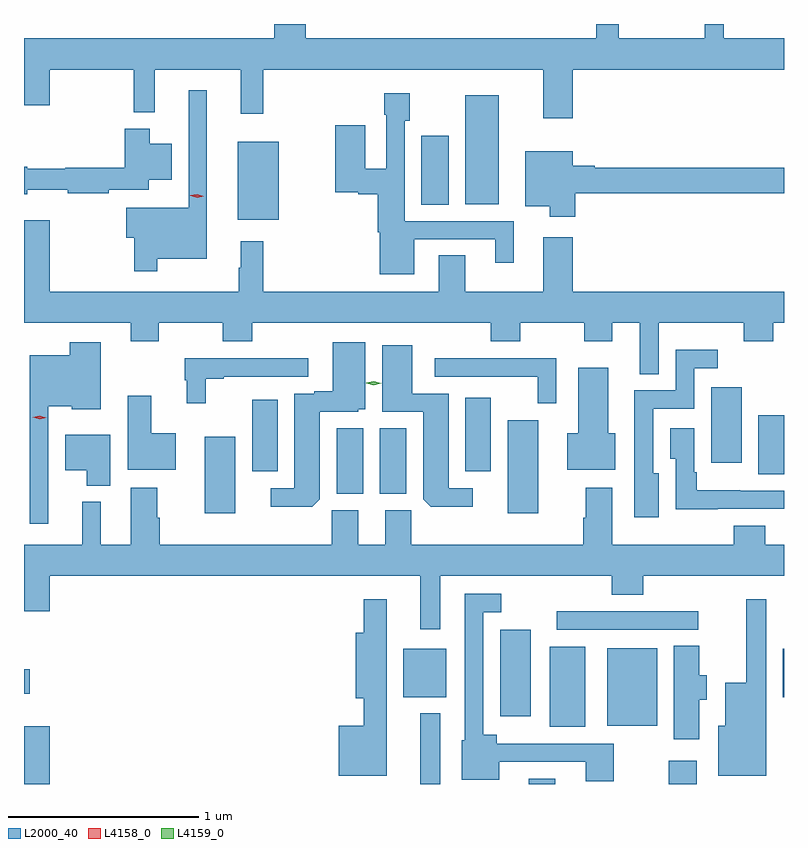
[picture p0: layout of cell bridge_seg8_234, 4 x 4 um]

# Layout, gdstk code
import gdstk
lib = gdstk.Library(unit=1e-6, precision=1e-09)
def R(c, l, rs):  # rectangles x0, y0, x1, y1
    for r in rs: c.add(gdstk.rectangle(r[:2], r[2:], *l))
def P(c, l, *ps):  # polygons
    for p in ps: c.add(gdstk.Polygon(p, *l))
L2000_40 = (2000, 40)
L4158_0 = (4158, 0)
L4159_0 = (4159, 0)

bridge_seg8_234 = lib.new_cell('bridge_seg8_234')
R(bridge_seg8_234, L2000_40, [(260.941,1138.048,261.076,1138.351), (263.027,1138.048,263.131,1138.42), (263.597,1138.048,263.737,1138.075), (264.334,1138.048,264.481,1138.171), (263.708,1138.349,263.896,1138.771), (264.011,1138.355,264.274,1138.762), (263.447,1138.404,263.608,1138.861), (262.937,1138.505,263.164,1138.759), (264.935,1138.505,264.941,1138.759), (260.941,1138.523,260.971,1138.653), (263.745,1138.86,264.49,1138.956), (261.893,1139.472,262.054,1139.875), (263.486,1139.472,263.647,1139.962), (262.586,1139.575,262.726,1139.921), (262.814,1139.575,262.954,1139.921), (264.806,1139.677,264.941,1139.988), (262.142,1139.694,262.276,1140.07), (263.264,1139.694,263.398,1140.082), (264.557,1139.739,264.718,1140.136), (262.067,1141.019,262.282,1141.429), (263.033,1141.096,263.176,1141.459), (263.264,1141.1,263.44,1141.672)])
P(bridge_seg8_234, L2000_40, [(262.424,1142.048),(262.259,1142.048),(262.259,1141.972),(260.941,1141.972),(260.941,1141.62),(261.076,1141.62),(261.076,1141.808),(261.519,1141.808),(261.519,1141.583),(261.629,1141.583),(261.629,1141.808),(262.082,1141.808),(262.082,1141.575),(262.199,1141.575),(262.199,1141.808),(263.675,1141.808),(263.675,1141.551),(263.828,1141.551),(263.828,1141.808),(264.941,1141.808),(264.941,1141.972),(264.623,1141.972),(264.623,1142.048),(264.524,1142.048),(264.524,1141.972),(264.071,1141.972),(264.071,1142.048),(263.953,1142.048),(263.953,1141.972),(262.424,1141.972)],
  [(261.643,1140.812),(261.904,1140.812),(261.904,1141.699),(261.807,1141.699),(261.807,1141.081),(261.48,1141.081),(261.48,1140.923),(261.522,1140.923),(261.522,1140.747),(261.643,1140.747)],
  [(262.996,1140.915),(263.42,1140.915),(263.42,1140.792),(263.518,1140.792),(263.518,1141.011),(262.944,1141.011),(262.944,1141.539),(262.971,1141.539),(262.971,1141.684),(262.836,1141.684),(262.836,1141.571),(262.848,1141.571),(262.848,1141.286),(262.738,1141.286),(262.738,1141.516),(262.58,1141.516),(262.58,1141.163),(262.701,1141.163),(262.701,1141.151),(262.802,1141.151),(262.802,1140.951),(262.814,1140.951),(262.814,1140.731),(262.996,1140.731)],
  [(260.958,1141.175),(261.172,1141.175),(261.172,1141.156),(261.386,1141.156),(261.386,1141.176),(261.598,1141.176),(261.598,1141.229),(261.718,1141.229),(261.718,1141.417),(261.604,1141.417),(261.604,1141.498),(261.47,1141.498),(261.47,1141.292),(261.158,1141.292),(261.158,1141.285),(260.958,1141.285),(260.958,1141.298),(260.941,1141.298),(260.941,1141.151),(260.958,1141.151)],
  [(263.843,1141.156),(264.941,1141.156),(264.941,1141.292),(263.944,1141.292),(263.944,1141.303),(263.83,1141.303),(263.83,1141.378),(263.579,1141.378),(263.579,1141.088),(263.708,1141.088),(263.708,1141.034),(263.843,1141.034)],
  [(264.283,1140.476),(264.73,1140.476),(264.73,1140.377),(264.885,1140.377),(264.885,1140.476),(264.941,1140.476),(264.941,1140.64),(263.828,1140.64),(263.828,1140.925),(263.675,1140.925),(263.675,1140.64),(263.263,1140.64),(263.263,1140.83),(263.123,1140.83),(263.123,1140.64),(262.199,1140.64),(262.199,1140.904),(262.082,1140.904),(262.082,1140.764),(262.071,1140.764),(262.071,1140.64),(261.076,1140.64),(261.076,1141.015),(260.941,1141.015),(260.941,1140.476),(261.503,1140.476),(261.503,1140.377),(261.651,1140.377),(261.651,1140.476),(261.988,1140.476),(261.988,1140.377),(262.143,1140.377),(262.143,1140.476),(263.398,1140.476),(263.398,1140.377),(263.553,1140.377),(263.553,1140.476),(263.89,1140.476),(263.89,1140.377),(264.037,1140.377),(264.037,1140.476),(264.182,1140.476),(264.182,1140.205),(264.283,1140.205)],
  [(262.498,1139.548),(262.498,1140.006),(262.701,1140.006),(262.701,1140.02),(262.738,1140.02),(262.738,1140.373),(262.565,1140.373),(262.565,1140.115),(262.469,1140.115),(262.469,1140.102),(262.364,1140.102),(262.364,1139.604),(262.239,1139.604),(262.239,1139.507),(262.457,1139.507)],
  [(261.069,1140.035),(261.192,1140.035),(261.192,1140.02),(261.346,1140.02),(261.346,1140.373),(261.181,1140.373),(261.181,1140.304),(260.972,1140.304),(260.972,1139.418),(261.069,1139.418)],
  [(263.302,1139.604),(263.176,1139.604),(263.176,1140.102),(262.984,1140.102),(262.984,1140.358),(262.826,1140.358),(262.826,1140.006),(263.042,1140.006),(263.042,1139.548),(263.083,1139.507),(263.302,1139.507)],
  [(264.283,1139.683),(264.253,1139.683),(264.253,1140.024),(264.468,1140.024),(264.468,1140.237),(264.592,1140.237),(264.592,1140.334),(264.372,1140.334),(264.372,1140.12),(264.152,1140.12),(264.152,1139.451),(264.283,1139.451)],
  [(261.897,1140.18),(261.991,1140.18),(261.991,1140.192),(262.438,1140.192),(262.438,1140.288),(261.786,1140.288),(261.786,1140.174),(261.797,1140.174),(261.797,1140.051),(261.897,1140.051)],
  [(263.742,1140.288),(263.103,1140.288),(263.103,1140.192),(263.644,1140.192),(263.644,1140.051),(263.742,1140.051)],
  [(264.052,1139.893),(264.016,1139.893),(264.016,1140.238),(263.858,1140.238),(263.858,1139.893),(263.801,1139.893),(263.801,1139.702),(264.052,1139.702)],
  [(261.739,1139.893),(261.61,1139.893),(261.61,1140.091),(261.488,1140.091),(261.488,1139.702),(261.739,1139.702)],
  [(264.593,1139.496),(264.941,1139.496),(264.941,1139.592),(264.71,1139.592),(264.71,1139.593),(264.481,1139.593),(264.481,1139.689),(264.468,1139.689),(264.468,1139.92),(264.341,1139.92),(264.341,1139.761),(264.372,1139.761),(264.372,1139.495),(264.593,1139.495)],
  [(261.394,1139.887),(261.158,1139.887),(261.158,1139.699),(261.272,1139.699),(261.272,1139.618),(261.394,1139.618)],
  [(263.131,1139.144),(264.035,1139.144),(264.035,1139.045),(264.2,1139.045),(264.2,1139.144),(264.941,1139.144),(264.941,1139.308),(264.842,1139.308),(264.842,1139.407),(264.677,1139.407),(264.677,1139.308),(264.037,1139.308),(264.037,1139.608),(263.897,1139.608),(263.897,1139.45),(263.885,1139.45),(263.885,1139.308),(262.979,1139.308),(262.979,1139.49),(262.841,1139.49),(262.841,1139.308),(262.699,1139.308),(262.699,1139.49),(262.561,1139.49),(262.561,1139.308),(261.656,1139.308),(261.656,1139.45),(261.643,1139.45),(261.643,1139.608),(261.503,1139.608),(261.503,1139.308),(261.346,1139.308),(261.346,1139.533),(261.248,1139.533),(261.248,1139.308),(260.941,1139.308),(260.941,1138.956),(261.076,1138.956),(261.076,1139.144),(263.027,1139.144),(263.027,1138.863),(263.131,1138.863)],
  [(264.045,1138.26),(263.428,1138.26),(263.428,1138.306),(263.358,1138.306),(263.358,1138.952),(263.452,1138.952),(263.452,1139.049),(263.262,1139.049),(263.262,1138.278),(263.246,1138.278),(263.246,1138.07),(263.443,1138.07),(263.443,1138.164),(263.897,1138.164),(263.897,1138.062),(264.045,1138.062)],
  [(264.847,1139.02),(264.743,1139.02),(264.743,1138.582),(264.632,1138.582),(264.632,1138.354),(264.596,1138.354),(264.596,1138.091),(264.847,1138.091)],
  [(262.849,1139.02),(262.728,1139.02),(262.728,1138.843),(262.688,1138.843),(262.688,1138.499),(262.728,1138.499),(262.728,1138.354),(262.598,1138.354),(262.598,1138.091),(262.849,1138.091)],
  [(264.496,1138.492),(264.535,1138.492),(264.535,1138.621),(264.496,1138.621),(264.496,1138.775),(264.362,1138.775),(264.362,1138.284),(264.496,1138.284)])
P(bridge_seg8_234, L4158_0, [(261.852,1141.133),(261.817,1141.145),(261.817,1141.145),(261.817,1141.146),(261.853,1141.153),(261.888,1141.141),(261.888,1141.141),(261.888,1141.141)],
  [(261.023,1139.967),(260.987,1139.979),(260.987,1139.979),(260.987,1139.979),(261.023,1139.987),(261.059,1139.976),(261.059,1139.976),(261.059,1139.975)])
P(bridge_seg8_234, L4159_0, [(262.782,1140.148),(262.742,1140.158),(262.742,1140.158),(262.742,1140.159),(262.782,1140.168),(262.822,1140.158),(262.822,1140.158),(262.822,1140.158)])

lib.write_gds('bridge_seg8_234.gds')
